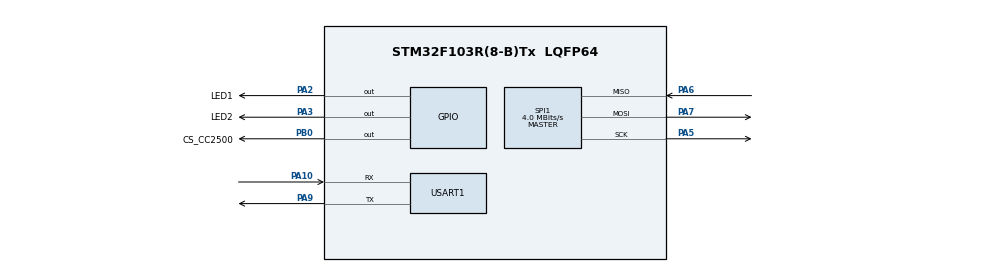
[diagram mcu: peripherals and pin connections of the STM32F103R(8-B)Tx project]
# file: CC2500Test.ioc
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Mcu.Family=STM32F1
Mcu.Name=STM32F103R(8-B)Tx
Mcu.Package=LQFP64
NVIC.PriorityGroup=NVIC_PRIORITYGROUP_4
PA10.Mode=Asynchronous
PA10.Signal=USART1_RX
PA2.GPIO_Label=LED1
PA2.Signal=GPIO_Output
PA3.GPIO_Label=LED2
PA3.Signal=GPIO_Output
PA5.Mode=Full_Duplex_Master
PA5.Signal=SPI1_SCK
PA6.Mode=Full_Duplex_Master
PA6.Signal=SPI1_MISO
PA7.Mode=Full_Duplex_Master
PA7.Signal=SPI1_MOSI
PA9.Mode=Asynchronous
PA9.Signal=USART1_TX
PB0.GPIO_Label=CS_CC2500
PB0.Signal=GPIO_Output
PC14-OSC32_IN.Mode=LSE-External-Oscillator
PC14-OSC32_IN.Signal=RCC_OSC32_IN
PC15-OSC32_OUT.Mode=LSE-External-Oscillator
PC15-OSC32_OUT.Signal=RCC_OSC32_OUT
PD0-OSC_IN.Mode=HSE-External-Oscillator
PD0-OSC_IN.Signal=RCC_OSC_IN
PD1-OSC_OUT.Mode=HSE-External-Oscillator
PD1-OSC_OUT.Signal=RCC_OSC_OUT
ProjectManager.HeapSize=0x200
ProjectManager.StackSize=0x400
ProjectManager.TargetToolchain=MDK-ARM V5
RCC.APB1Freq_Value=8000000
RCC.APB2Freq_Value=8000000
SPI1.CalculateBaudRate=4.0 MBits/s
SPI1.Mode=SPI_MODE_MASTER
VP_SYS_VS_ND.Mode=No_Debug
board=CC2500Test

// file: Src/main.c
/**
  ******************************************************************************
  * File Name          : main.c
  * Description        : Main program body
  ******************************************************************************
  *
  * COPYRIGHT(c) 2016 STMicroelectronics
  *
  * Redistribution and use in source and binary forms, with or without modification,
  * are permitted provided that the following conditions are met:
  *   1. Redistributions of source code must retain the above copyright notice,
  *      this list of conditions and the following disclaimer.
  *   2. Redistributions in binary form must reproduce the above copyright notice,
  *      this list of conditions and the following disclaimer in the documentation
  *      and/or other materials provided with the distribution.
  *   3. Neither the name of STMicroelectronics nor the names of its contributors
  *      may be used to endorse or promote products derived from this software
  *      without specific prior written permission.
  *
  * THIS SOFTWARE IS PROVIDED BY THE COPYRIGHT HOLDERS AND CONTRIBUTORS "AS IS"
  * AND ANY EXPRESS OR IMPLIED WARRANTIES, INCLUDING, BUT NOT LIMITED TO, THE
  * IMPLIED WARRANTIES OF MERCHANTABILITY AND FITNESS FOR A PARTICULAR PURPOSE ARE
  * DISCLAIMED. IN NO EVENT SHALL THE COPYRIGHT HOLDER OR CONTRIBUTORS BE LIABLE
  * FOR ANY DIRECT, INDIRECT, INCIDENTAL, SPECIAL, EXEMPLARY, OR CONSEQUENTIAL
  * DAMAGES (INCLUDING, BUT NOT LIMITED TO, PROCUREMENT OF SUBSTITUTE GOODS OR
  * SERVICES; LOSS OF USE, DATA, OR PROFITS; OR BUSINESS INTERRUPTION) HOWEVER
  * CAUSED AND ON ANY THEORY OF LIABILITY, WHETHER IN CONTRACT, STRICT LIABILITY,
  * OR TORT (INCLUDING NEGLIGENCE OR OTHERWISE) ARISING IN ANY WAY OUT OF THE USE
  * OF THIS SOFTWARE, EVEN IF ADVISED OF THE POSSIBILITY OF SUCH DAMAGE.
  *
  ******************************************************************************
  */
#include "stm32f1xx_hal.h"

/* USER CODE BEGIN Includes */
#include "iface_cc2500.h"
/* USER CODE END Includes */

SPI_HandleTypeDef hspi1;

UART_HandleTypeDef huart1;

/* USER CODE BEGIN PV */
/* Private variables ---------------------------------------------------------*/

/* USER CODE END PV */

void SystemClock_Config(void);
void Error_Handler(void);
static void MX_GPIO_Init(void);
static void MX_SPI1_Init(void);
static void MX_USART1_UART_Init(void);

/* USER CODE BEGIN PFP */
/* Private function prototypes -----------------------------------------------*/

/* USER CODE END PFP */

/* USER CODE BEGIN 0 */
#ifdef __GNUC__
  /* With GCC/RAISONANCE, small printf (option LD Linker->Libraries->Small printf
     set to 'Yes') calls __io_putchar() */
  #define PUTCHAR_PROTOTYPE int __io_putchar(int ch)
#else
  #define PUTCHAR_PROTOTYPE int fputc(int ch, FILE *f)
#endif /* __GNUC__ */

/**
  * @brief  Retargets the C library printf function to the USART.
  * @param  None
  * @retval None
  */
PUTCHAR_PROTOTYPE
{
	/* Place your implementation of fputc here */
	/* e.g. write a character to the USART */
	HAL_UART_Transmit(&huart1, (uint8_t *)&ch, 1, 100);

	return ch;
}
void CC2500_WriteReg(uint8_t address, uint8_t data)
{
	HAL_GPIO_WritePin(CS_CC2500_GPIO_Port,CS_CC2500_Pin,GPIO_PIN_RESET);
	//CC25_CSN_off;
	HAL_SPI_Transmit(&hspi1,&address,1,1000);
	//SPI_Write(address);

	//HAL_Delay(xyz);
	//NOP();

	HAL_SPI_Transmit(&hspi1,&data,1,1000);
	//SPI_Write(data);
	HAL_GPIO_WritePin(CS_CC2500_GPIO_Port,CS_CC2500_Pin,GPIO_PIN_SET);
	//CC25_CSN_on;
}
void CC2500_ReadRegisterMulti(uint8_t address, uint8_t data[], uint8_t length)
{
	HAL_GPIO_WritePin(CS_CC2500_GPIO_Port,CS_CC2500_Pin,GPIO_PIN_RESET);
	//CC25_CSN_off

	uint8_t txData = ((uint8_t) CC2500_READ_BURST )| address;
	HAL_SPI_Transmit(&hspi1,&txData,1,1000);

	HAL_SPI_Receive(&hspi1,data,length,1000);

	HAL_GPIO_WritePin(CS_CC2500_GPIO_Port,CS_CC2500_Pin,GPIO_PIN_SET);
	//CC25_CSN_on;
}

uint8_t CC2500_ReadReg(uint8_t address)
{
	uint8_t result;
	HAL_GPIO_WritePin(CS_CC2500_GPIO_Port,CS_CC2500_Pin,GPIO_PIN_RESET);
	//CC25_CSN_off

	uint8_t txData = ((uint8_t) CC2500_READ_SINGLE )| address;
	HAL_SPI_Transmit(&hspi1,&txData,1,1000);
	//SPI_Write(CC2500_READ_SINGLE | address);

	HAL_SPI_Receive(&hspi1,&result,1,1000);
	//result = SPI_Read();

	HAL_GPIO_WritePin(CS_CC2500_GPIO_Port,CS_CC2500_Pin,GPIO_PIN_SET);
	//CC25_CSN_on;

	return(result);
}

void CC2500_ReadData(uint8_t *dpbuffer, uint8_t len)
{
	CC2500_ReadRegisterMulti(CC2500_3F_RXFIFO, dpbuffer, len);
}

void CC2500_Strobe(uint8_t state)
{
	HAL_GPIO_WritePin(CS_CC2500_GPIO_Port,CS_CC2500_Pin,GPIO_PIN_RESET);
	//CC25_CSN_off

	HAL_SPI_Transmit(&hspi1,&state,1,1000);

	HAL_GPIO_WritePin(CS_CC2500_GPIO_Port,CS_CC2500_Pin,GPIO_PIN_SET);
	//CC25_CSN_on;
}

static void CC2500_WriteRegisterMulti(uint8_t address, uint8_t data[], uint8_t length)
{
	HAL_GPIO_WritePin(CS_CC2500_GPIO_Port,CS_CC2500_Pin,GPIO_PIN_RESET);
	//CC25_CSN_off

	uint8_t txData = ((uint8_t) CC2500_WRITE_BURST )| address;
	HAL_SPI_Transmit(&hspi1,&txData,1,1000);

	HAL_SPI_Transmit(&hspi1,data,length,1000);

	HAL_GPIO_WritePin(CS_CC2500_GPIO_Port,CS_CC2500_Pin,GPIO_PIN_SET);
	//CC25_CSN_on;
}

void CC2500_WriteData(uint8_t *dpbuffer, uint8_t len)
{
	CC2500_Strobe(CC2500_SFTX);
	CC2500_WriteRegisterMulti(CC2500_3F_TXFIFO, dpbuffer, len);
	CC2500_Strobe(CC2500_STX);
}

void CC2500_SetTxRxMode(uint8_t mode)
{
	if(mode == TX_EN)
	{//from deviation firmware
		CC2500_WriteReg(CC2500_02_IOCFG0, 0x2F | 0x40);
		CC2500_WriteReg(CC2500_00_IOCFG2, 0x2F);
	}
	else
		if (mode == RX_EN)
		{
			CC2500_WriteReg(CC2500_02_IOCFG0, 0x2F);
			CC2500_WriteReg(CC2500_00_IOCFG2, 0x2F | 0x40);
		}
		else
		{
			CC2500_WriteReg(CC2500_02_IOCFG0, 0x2F);
			CC2500_WriteReg(CC2500_00_IOCFG2, 0x2F);
		}
}

uint8_t CC2500_Reset()
{
	CC2500_Strobe(CC2500_SRES);
	HAL_Delay(1);
	CC2500_SetTxRxMode(TXRX_OFF);
	return CC2500_ReadReg(CC2500_0E_FREQ1) == 0xC4;//check if reset
}
void CC2500_SetPower()
{
	uint8_t power=CC2500_BIND_POWER;
	if(IS_BIND_DONE_on)
		power=IS_POWER_FLAG_on?CC2500_HIGH_POWER:CC2500_LOW_POWER;
	if(IS_RANGE_FLAG_on)
		power=CC2500_RANGE_POWER;
	if(prev_power != power)
	{
		CC2500_WriteReg(CC2500_3E_PATABLE, power);
		prev_power=power;
	}
}

void __attribute__((unused)) frsky2way_init(uint8_t bind)
{
	// Configure cc2500 for tx mode
	//
	for(uint8_t i=0;i<36;i++)
	{
		uint8_t reg=cc2500_conf[i][0];
		uint8_t val=cc2500_conf[i][1];

		if(reg==CC2500_0C_FSCTRL0)
			val=option;
		else
			if(reg==CC2500_1B_AGCCTRL2)
				val=bind ? 0x43 : 0x03;
		CC2500_WriteReg(reg,val);
	}
	prev_option = option ;

	CC2500_SetTxRxMode(TX_EN);
	CC2500_SetPower();

	CC2500_Strobe(CC2500_SIDLE);

	CC2500_WriteReg(CC2500_09_ADDR, bind ? 0x03 : rx_tx_addr[3]);
	CC2500_WriteReg(CC2500_07_PKTCTRL1, 0x05);
	CC2500_Strobe(CC2500_SIDLE);	// Go to idle...
	//
	CC2500_WriteReg(CC2500_0A_CHANNR, 0x00);
	CC2500_WriteReg(CC2500_23_FSCAL3, 0x89);
	CC2500_Strobe(CC2500_SFRX);
}

uint16_t initFrSky_2way()
{
	if(IS_AUTOBIND_FLAG_on)
	{
		frsky2way_init(1);
		state = FRSKY_BIND;
	}
	else
	{
		frsky2way_init(0);
		state = FRSKY_DATA2;
	}
	return 10000;
}

static uint8_t __attribute__((unused)) get_chan_num(uint16_t idx)
{
	uint8_t ret = (idx * 0x1e) % 0xeb;
	if(idx == 3 || idx == 23 || idx == 47)
		ret++;
	if(idx > 47)
		return 0;
	return ret;
}

void __attribute__((unused)) frsky2way_build_bind_packet()
{
	//11 03 01 d7 2d 00 00 1e 3c 5b 78 00 00 00 00 00 00 01
	//11 03 01 19 3e 00 02 8e 2f bb 5c 00 00 00 00 00 00 01
	packet[0] = 0x11;
	packet[1] = 0x03;
	packet[2] = 0x01;
	packet[3] = rx_tx_addr[3];
	packet[4] = rx_tx_addr[2];
	uint16_t idx = ((state -FRSKY_BIND) % 10) * 5;
	packet[5] = idx;
	packet[6] = get_chan_num(idx++);
	packet[7] = get_chan_num(idx++);
	packet[8] = get_chan_num(idx++);
	packet[9] = get_chan_num(idx++);
	packet[10] = get_chan_num(idx++);
	packet[11] = 0x00;
	packet[12] = 0x00;
	packet[13] = 0x00;
	packet[14] = 0x00;
	packet[15] = 0x00;
	packet[16] = 0x00;
	packet[17] = 0x01;
}

// Channel value is multiplied by 1.5
uint16_t convert_channel_frsky(uint8_t num)
{
	return Servo_data[num] + Servo_data[num]/2;
}

static void __attribute__((unused)) frsky2way_data_frame()
{//pachet[4] is telemetry user frame counter(hub)
	//11 d7 2d 22 00 01 c9 c9 ca ca 88 88 ca ca c9 ca 88 88
	//11 57 12 00 00 01 f2 f2 f2 f2 06 06 ca ca ca ca 18 18
	packet[0] = 0x11;             //Length
	packet[1] = rx_tx_addr[3];
	packet[2] = rx_tx_addr[2];
	packet[3] = counter;//
	#if defined TELEMETRY
		packet[4] = telemetry_counter;
	#else
		packet[4] = 0x00;
	#endif

	packet[5] = 0x01;

	packet[10] = 0;
	packet[11] = 0;
	packet[16] = 0;
	packet[17] = 0;
	for(uint8_t i = 0; i < 8; i++)
	{
		uint16_t value;
			value = convert_channel_frsky(i);
		if(i < 4)
		{
			packet[6+i] = value & 0xff;
			packet[10+(i>>1)] |= ((value >> 8) & 0x0f) << (4 *(i & 0x01));
		}
		else
		{
			packet[8+i] = value & 0xff;
			packet[16+((i-4)>>1)] |= ((value >> 8) & 0x0f) << (4 * ((i-4) & 0x01));
		}
	}
}
void frsky_check_telemetry(uint8_t *pkt,uint8_t len)
{
	if(pkt[1] == rx_tx_addr[3] && pkt[2] == rx_tx_addr[2] && len ==(pkt[0] + 3))
	{
		for (uint8_t i=3;i<len;i++)
			pktt[i]=pkt[i];
		telemetry_link=1;
		if(pktt[6])
			telemetry_counter=(telemetry_counter+1)%32;
		//
#if defined FRSKYX_CC2500_INO
		if ((pktt[5] >> 4 & 0x0f) == 0x08)
			{
				seq_last_sent = 8;
				seq_last_rcvd = 0;
				pass=0;
			}
			else
			{
				if ((pktt[5] >> 4 & 0x03) == (seq_last_rcvd + 1) % 4)
					seq_last_rcvd = (seq_last_rcvd + 1) % 4;
				else
					pass=0;//reset if sequence wrong
			}
#endif
	}
}

uint16_t ReadFrSky_2way()
{
	if (state < FRSKY_BIND_DONE)
	{
		frsky2way_build_bind_packet();
		CC2500_Strobe(CC2500_SIDLE);
		CC2500_WriteReg(CC2500_0A_CHANNR, 0x00);
		CC2500_WriteReg(CC2500_23_FSCAL3, 0x89);
		CC2500_Strobe(CC2500_SFRX);//0x3A
		CC2500_WriteData(packet, packet[0]+1);
		state++;
		return 9000;
	}
	if (state == FRSKY_BIND_DONE)
	{
		state = FRSKY_DATA2;
		frsky2way_init(0);
		counter = 0;
		BIND_DONE;
	}
	else
		if (state == FRSKY_DATA5)
		{
			CC2500_Strobe(CC2500_SRX);//0x34 RX enable
			state = FRSKY_DATA1;
			return 9200;
		}

	counter = (counter + 1) % 188;
	if (state == FRSKY_DATA4)
	{	//telemetry receive
		CC2500_SetTxRxMode(RX_EN);
		CC2500_Strobe(CC2500_SIDLE);
		CC2500_WriteReg(CC2500_0A_CHANNR, get_chan_num(counter % 47));
		CC2500_WriteReg(CC2500_23_FSCAL3, 0x89);
		state++;
		return 1300;
	}
	else
	{
		if (state == FRSKY_DATA1)
		{
			len = CC2500_ReadReg(CC2500_3B_RXBYTES | CC2500_READ_BURST) & 0x7F;
			printf("LENGTH %d \r\n",len);
			if (len && len<=MAX_PKT)//27 bytes
			{
				CC2500_ReadData(pkt, len);	//received telemetry packets
				frsky_check_telemetry(pkt,len);	//check if valid telemetry packets and buffer them.
			}
			CC2500_SetTxRxMode(TX_EN);
			CC2500_SetPower();	// Set tx_power
		}
		CC2500_Strobe(CC2500_SIDLE);
		CC2500_WriteReg(CC2500_0A_CHANNR, get_chan_num(counter % 47));
		if ( prev_option != option )
		{
			CC2500_WriteReg(CC2500_0C_FSCTRL0,option);	// Frequency offset hack
			prev_option = option ;
		}
		CC2500_WriteReg(CC2500_23_FSCAL3, 0x89);
		CC2500_Strobe(CC2500_SFRX);
		frsky2way_data_frame();
		CC2500_WriteData(packet, packet[0]+1);
		state++;
	}
	return state == FRSKY_DATA4 ? 7500 : 9000;
}
void proces_sport_data(uint8_t data)
{
	switch (pass)
	{
		case 0:
			if (data == START_STOP)
			{//waiting for 0x7e
				index2 = 0;
				pass = 1;
			}
			break;
		case 1:
			if (data == START_STOP)	// Happens if missed packet
			{//waiting for 0x7e
				index2 = 0;
				pass = 1;
				break;
			}
			if(data == BYTESTUFF)//if they are stuffed
				pass=2;
			else
				if (index2 < MAX_PKTX)
					pktx[index2++] = data;
			break;
		case 2:
			if (index2 < MAX_PKTX)
				pktx[index2++] = data ^ STUFF_MASK;	//unstuff bytes
			pass=1;
			break;
	} // end switch
	if (index2 >= FRSKY_SPORT_PACKET_SIZE)
	{//8 bytes no crc
		if ( sport )
		{
			// overrun!
		}
		else
		{
			uint8_t i ;
			for ( i = 0 ; i < FRSKY_SPORT_PACKET_SIZE ; i += 1 )
			{
				pktx1[i] = pktx[i] ;	// Double buffer
			}
			sport = 1;//ok to send
		}
		pass = 0;//reset
	}
}

void TelemetryUpdate()
{
		if(telemetry_link)
		{
			printf("### telemetry link! ###\r\n");
			if(pktt[4] & 0x80)
				rssi=pktt[4] & 0x7F ;
			else
				RxBt = (pktt[4]<<1) + 1 ;
			for (uint8_t i=0; i < pktt[6]; i++)
			proces_sport_data(pktt[7+i]);
			telemetry_link=0;
		}
}
/* USER CODE END 0 */

int main(void)
{

  /* USER CODE BEGIN 1 */
	//init servo positions to center
	Servo_data[0] = 1500;
	Servo_data[1] = 1500;
	Servo_data[2] = 1500;
	Servo_data[3] = 1500;

  /* USER CODE END 1 */

  /* MCU Configuration----------------------------------------------------------*/

  /* Reset of all peripherals, Initializes the Flash interface and the Systick. */
  HAL_Init();

  /* Configure the system clock */
  SystemClock_Config();

  /* Initialize all configured peripherals */
  MX_GPIO_Init();
  MX_SPI1_Init();
  MX_USART1_UART_Init();

  /* USER CODE BEGIN 2 */

	printf("Hello from CC2500 Testbed!\r\n");

	HAL_GPIO_WritePin(CS_CC2500_GPIO_Port,CS_CC2500_Pin,GPIO_PIN_SET); //CC25_CSN_on;

	HAL_Delay(100); //Wait for CC2500 to come up

	//TODO: Read status of bind button

	//Reset CC2500
	CC2500_Reset();
	HAL_Delay(100);
	prev_power=0xFD;		// unused power value

	pass=0;
	telemetry_link=0;

	//BIND???
	if(IS_BIND_BUTTON_FLAG_on)
		AUTOBIND_FLAG_on;
	if(IS_AUTOBIND_FLAG_on)
		BIND_IN_PROGRESS;			// Indicates bind in progress for blinking bind led
	else
		BIND_DONE;

	/*????????????????????????????????????
	CTRL1_off;	//antenna RF2
	CTRL2_on;
	??????????????????????????????????????*/

	int next_callback = initFrSky_2way();
	remote_callback = ReadFrSky_2way;

	if(next_callback>32000)
	{ // next_callback should not be more than 32767 so we will wait here...
		HAL_Delay((next_callback-2000)>>10);
		// between 2-3ms left at this stage
	}

  /* USER CODE END 2 */

  /* Infinite loop */
  while (1)
  {

  /* USER CODE BEGIN 3 */
		if(next_callback!=0)
		{
			TelemetryUpdate();
			HAL_Delay(next_callback>>10);
			next_callback = 0;
		}
		else
		{
				next_callback = remote_callback();
		}

		/*
		HAL_Delay(100);
		*/
		HAL_GPIO_WritePin(LED1_GPIO_Port,LED1_Pin,GPIO_PIN_SET);
		/*HAL_Delay(100);
		HAL_GPIO_WritePin(LED1_GPIO_Port,LED1_Pin,GPIO_PIN_RESET);

		*/
	}
  /* USER CODE END 3 */

}

/** System Clock Configuration
*/
void SystemClock_Config(void)
{

  RCC_OscInitTypeDef RCC_OscInitStruct;
  RCC_ClkInitTypeDef RCC_ClkInitStruct;

  RCC_OscInitStruct.OscillatorType = RCC_OSCILLATORTYPE_HSI;
  RCC_OscInitStruct.HSIState = RCC_HSI_ON;
  RCC_OscInitStruct.HSICalibrationValue = 16;
  RCC_OscInitStruct.PLL.PLLState = RCC_PLL_NONE;
  if (HAL_RCC_OscConfig(&RCC_OscInitStruct) != HAL_OK)
  {
    Error_Handler();
  }

  RCC_ClkInitStruct.ClockType = RCC_CLOCKTYPE_HCLK|RCC_CLOCKTYPE_SYSCLK
                              |RCC_CLOCKTYPE_PCLK1|RCC_CLOCKTYPE_PCLK2;
  RCC_ClkInitStruct.SYSCLKSource = RCC_SYSCLKSOURCE_HSI;
  RCC_ClkInitStruct.AHBCLKDivider = RCC_SYSCLK_DIV1;
  RCC_ClkInitStruct.APB1CLKDivider = RCC_HCLK_DIV1;
  RCC_ClkInitStruct.APB2CLKDivider = RCC_HCLK_DIV1;
  if (HAL_RCC_ClockConfig(&RCC_ClkInitStruct, FLASH_LATENCY_0) != HAL_OK)
  {
    Error_Handler();
  }

  HAL_SYSTICK_Config(HAL_RCC_GetHCLKFreq()/1000);

  HAL_SYSTICK_CLKSourceConfig(SYSTICK_CLKSOURCE_HCLK);

  /* SysTick_IRQn interrupt configuration */
  HAL_NVIC_SetPriority(SysTick_IRQn, 0, 0);
}

/* SPI1 init function */
static void MX_SPI1_Init(void)
{

  hspi1.Instance = SPI1;
  hspi1.Init.Mode = SPI_MODE_MASTER;
  hspi1.Init.Direction = SPI_DIRECTION_2LINES;
  hspi1.Init.DataSize = SPI_DATASIZE_8BIT;
  hspi1.Init.CLKPolarity = SPI_POLARITY_LOW;
  hspi1.Init.CLKPhase = SPI_PHASE_1EDGE;
  hspi1.Init.NSS = SPI_NSS_SOFT;
  hspi1.Init.BaudRatePrescaler = SPI_BAUDRATEPRESCALER_2;
  hspi1.Init.FirstBit = SPI_FIRSTBIT_MSB;
  hspi1.Init.TIMode = SPI_TIMODE_DISABLE;
  hspi1.Init.CRCCalculation = SPI_CRCCALCULATION_DISABLE;
  hspi1.Init.CRCPolynomial = 10;
  if (HAL_SPI_Init(&hspi1) != HAL_OK)
  {
    Error_Handler();
  }

}

/* USART1 init function */
static void MX_USART1_UART_Init(void)
{

  huart1.Instance = USART1;
  huart1.Init.BaudRate = 115200;
  huart1.Init.WordLength = UART_WORDLENGTH_8B;
  huart1.Init.StopBits = UART_STOPBITS_1;
  huart1.Init.Parity = UART_PARITY_NONE;
  huart1.Init.Mode = UART_MODE_TX_RX;
  huart1.Init.HwFlowCtl = UART_HWCONTROL_NONE;
  huart1.Init.OverSampling = UART_OVERSAMPLING_16;
  if (HAL_UART_Init(&huart1) != HAL_OK)
  {
    Error_Handler();
  }

}

/** Configure pins as
        * Analog
        * Input
        * Output
        * EVENT_OUT
        * EXTI
*/
static void MX_GPIO_Init(void)
{

  GPIO_InitTypeDef GPIO_InitStruct;

  /* GPIO Ports Clock Enable */
  __HAL_RCC_GPIOC_CLK_ENABLE();
  __HAL_RCC_GPIOD_CLK_ENABLE();
  __HAL_RCC_GPIOA_CLK_ENABLE();
  __HAL_RCC_GPIOB_CLK_ENABLE();

  /*Configure GPIO pin Output Level */
  HAL_GPIO_WritePin(GPIOA, LED1_Pin|LED2_Pin, GPIO_PIN_RESET);

  /*Configure GPIO pin Output Level */
  HAL_GPIO_WritePin(CS_CC2500_GPIO_Port, CS_CC2500_Pin, GPIO_PIN_RESET);

  /*Configure GPIO pins : LED1_Pin LED2_Pin */
  GPIO_InitStruct.Pin = LED1_Pin|LED2_Pin;
  GPIO_InitStruct.Mode = GPIO_MODE_OUTPUT_PP;
  GPIO_InitStruct.Speed = GPIO_SPEED_FREQ_LOW;
  HAL_GPIO_Init(GPIOA, &GPIO_InitStruct);

  /*Configure GPIO pin : CS_CC2500_Pin */
  GPIO_InitStruct.Pin = CS_CC2500_Pin;
  GPIO_InitStruct.Mode = GPIO_MODE_OUTPUT_PP;
  GPIO_InitStruct.Speed = GPIO_SPEED_FREQ_LOW;
  HAL_GPIO_Init(CS_CC2500_GPIO_Port, &GPIO_InitStruct);

}

void Error_Handler(void)
{
  while(1)
  {
  }
}

/************************ (C) COPYRIGHT STMicroelectronics *****END OF FILE****/
